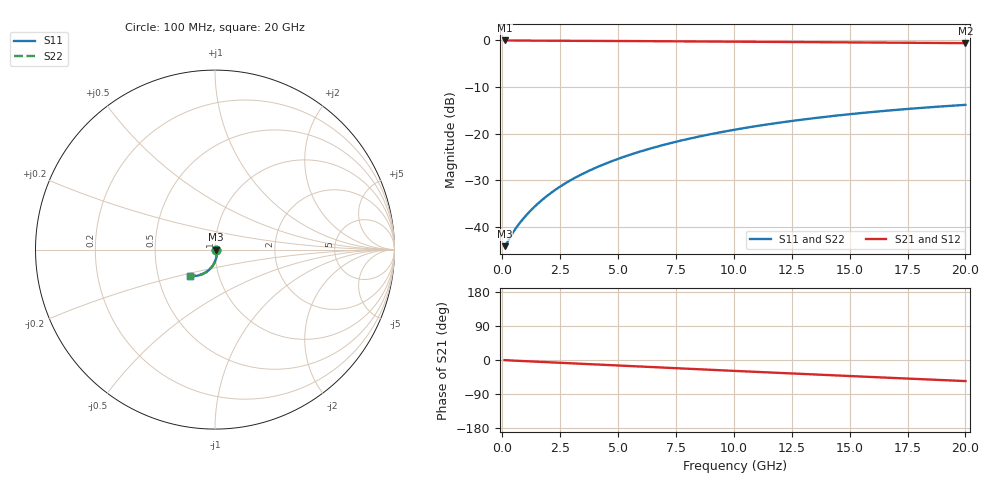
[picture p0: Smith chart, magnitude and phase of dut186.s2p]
! Touchstone file exported from HFSS 2026.1.0
!  File:  C:/ffzhzh/LocalFiles/Ansys_Project_Files/temp_train_BSMRDL_186_1782987338_6248.aedt
!  Generated:  06:18:10 PM Jul  2, 2026
!  Design:  BSMRDL
!  Project:  temp_train_BSMRDL_186_1782987338_6248
! Variables:
!  h_bsmrdl = 3.91um
!  h_ox = 20um
!  h_rdl = 5um
!  h_sub = 80um
!  h_tmrdl = 5um
!  h_tsv = 80um
!  h_via = 3um
!  l_bsmrdl = 977.91um
!  l_sub = 1377.91um
!  l_tmrdl = 200um
!  m_sub = 200um
!  pitch = 16.52um
!  r_tsv = 6um
!  s_tmrdl = 10um
!  w_bsmrdl = 14.56um
!  w_sub = 500um
!  w_tmrdl = 12um
!  x_tsv_center1 = 206um
!  x_tsv_center2 = 1198.47um
!  x_tsv_center3 = 1410.47um
!  x_tsv_center4 = 2402.94um
!  x_tsv_center5 = 2614.94um
!  x_tsv_center6 = 3607.41um
# GHz S MA R 50.000000
! Terminal data exported
! Port[1] = BSM_RDL1_1_T1
! Port[2] = BSM_RDL1_1_T2
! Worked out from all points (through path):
!   200 points, 100 MHz to 20 GHz, reference 50 ohm
!   highest |S21| = -0.05 dB at 100 MHz (marker M1); lowest = -0.6 dB at 20 GHz (marker M2)
!   group delay of S21, straight-line fit = 7.69 ps
!   lowest |S11| = -44.1 dB at 100 MHz (marker M3), VSWR 1.01, Z = 50.6 + j0.0013 ohm
!   |S11| at or under -10 dB: start of sweep to end of sweep
!   |S22| runs from -44.1 to -13.9 dB; largest |S21 - S12| = 2.1e-15
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0.1  0.006267 0.1  0.9937 -0.4  0.9937 -0.4  0.006267 0.1
! Gamma 0 0 0 0
! Port Impedance 50 0 50 0
0.2  0.006801 -1.6  0.9932 -0.7  0.9932 -0.7  0.006801 -1.6
0.5  0.009074 -15.5  0.9912 -1.6  0.9912 -1.6  0.009073 -15.5
0.7  0.01067 -25.8  0.9902 -2.2  0.9902 -2.2  0.01066 -25.8
0.9  0.0123 -34.6  0.9895 -2.8  0.9895 -2.8  0.01229 -34.6
1.1  0.01399 -41.9  0.989 -3.4  0.989 -3.4  0.01398 -41.9
1.5  0.01755 -52.8  0.9881 -4.5  0.9881 -4.5  0.01754 -52.8
1.9  0.02131 -60.4  0.9874 -5.7  0.9874 -5.7  0.0213 -60.5
2.4  0.02621 -67.2  0.9866 -7.1  0.9866 -7.1  0.02619 -67.2
2.9  0.03128 -72.2  0.9856 -8.6  0.9856 -8.6  0.03126 -72.2
3.5  0.03755 -76.8  0.9843 -10.3  0.9843 -10.3  0.03752 -76.8
4.2  0.04505 -81.0  0.9826 -12.4  0.9826 -12.4  0.04501 -81.1
5  0.05381 -85.1  0.9804 -14.6  0.9804 -14.6  0.05377 -85.1
5.9  0.06386 -89.0  0.9778 -17.2  0.9778 -17.2  0.0638 -89.1
6.8  0.07402 -92.6  0.9751 -19.8  0.9751 -19.8  0.07394 -92.7
8.4  0.09212 -98.5  0.97 -24.2  0.97 -24.2  0.09201 -98.6
10.1  0.1111 -104.3  0.9643 -29.0  0.9643 -29.0  0.1109 -104.4
11.7  0.1284 -109.5  0.9589 -33.4  0.9589 -33.4  0.1282 -109.6
13.4  0.146 -114.8  0.9531 -38.0  0.9531 -38.0  0.1458 -115.0
15  0.1616 -119.7  0.9475 -42.3  0.9475 -42.3  0.1613 -119.9
16.7  0.1771 -124.8  0.9416 -46.9  0.9416 -46.9  0.1768 -124.9
20  0.2034 -134.2  0.9303 -55.6  0.9303 -55.6  0.203 -134.4
